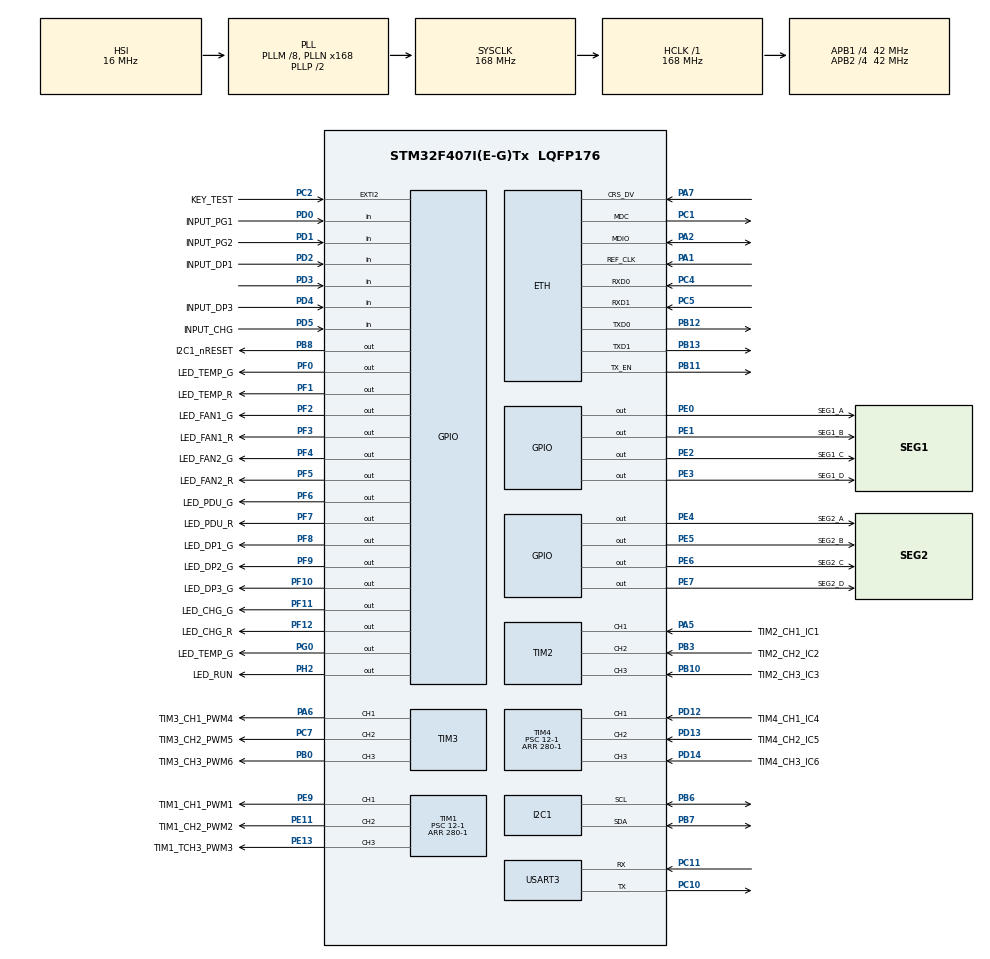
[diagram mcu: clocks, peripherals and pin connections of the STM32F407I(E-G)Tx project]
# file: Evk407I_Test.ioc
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ETH.MediaInterface=HAL_ETH_RMII_MODE
LWIP.BSP.number=1
LWIP.LWIP_DHCP=0
LWIP.Version=v2.1.2_Cube
LWIP0.BSP.STBoard=false
LWIP0.BSP.api=BSP_COMPONENT_DRIVER
LWIP0.BSP.component=LAN8742
LWIP0.BSP.instance=LAN8742
LWIP0.BSP.name=Driver_PHY
LWIP0.BSP.semaphore=S_LAN8742
LWIP0.BSP.solution=LAN8742
Mcu.Family=STM32F4
Mcu.Name=STM32F407I(E-G)Tx
Mcu.Package=LQFP176
NVIC.EXTI2_IRQn=true\:5\:0\:true\:false\:true\:true\:true\:true
NVIC.I2C1_ER_IRQn=true\:0\:0\:false\:false\:true\:true\:true\:true
NVIC.I2C1_EV_IRQn=true\:0\:0\:false\:false\:true\:true\:true\:true
NVIC.PriorityGroup=NVIC_PRIORITYGROUP_4
NVIC.TIM2_IRQn=true\:0\:0\:false\:false\:true\:true\:true\:true
NVIC.TIM4_IRQn=true\:0\:0\:false\:false\:true\:true\:true\:true
NVIC.TIM6_DAC_IRQn=true\:0\:0\:false\:false\:true\:true\:true\:true
NVIC.USART3_IRQn=true\:0\:0\:false\:false\:true\:true\:true\:true
PA1.Mode=RMII
PA1.Signal=ETH_REF_CLK
PA2.Mode=RMII
PA2.Signal=ETH_MDIO
PA5.GPIO_Label=TIM2_CH1_IC1
PA5.Signal=S_TIM2_CH1_ETR
PA6.GPIO_Label=TIM3_CH1_PWM4
PA6.Signal=S_TIM3_CH1
PA7.Mode=RMII
PA7.Signal=ETH_CRS_DV
PB0.GPIO_Label=TIM3_CH3_PWM6
PB0.Signal=S_TIM3_CH3
PB10.GPIO_Label=TIM2_CH3_IC3
PB10.Signal=S_TIM2_CH3
PB11.Mode=RMII
PB11.Signal=ETH_TX_EN
PB12.Mode=RMII
PB12.Signal=ETH_TXD0
PB13.Mode=RMII
PB13.Signal=ETH_TXD1
PB3.GPIO_Label=TIM2_CH2_IC2
PB3.Signal=S_TIM2_CH2
PB6.Mode=I2C
PB6.Signal=I2C1_SCL
PB7.Mode=I2C
PB7.Signal=I2C1_SDA
PB8.GPIO_Label=I2C1_nRESET
PB8.Signal=GPIO_Output
PC1.Mode=RMII
PC1.Signal=ETH_MDC
PC10.Mode=Asynchronous
PC10.Signal=USART3_TX
PC11.Mode=Asynchronous
PC11.Signal=USART3_RX
PC2.GPIO_Label=KEY_TEST
PC2.GPIO_ModeDefaultEXTI=GPIO_MODE_IT_FALLING
PC2.GPIO_PuPd=GPIO_NOPULL
PC2.Signal=GPXTI2
PC4.Mode=RMII
PC4.Signal=ETH_RXD0
PC5.Mode=RMII
PC5.Signal=ETH_RXD1
PC7.GPIO_Label=TIM3_CH2_PWM5
PC7.Signal=S_TIM3_CH2
PD0.GPIO_Label=INPUT_PG1
PD0.Signal=GPIO_Input
PD1.GPIO_Label=INPUT_PG2
PD1.Signal=GPIO_Input
PD12.GPIO_Label=TIM4_CH1_IC4
PD12.Signal=S_TIM4_CH1
PD13.GPIO_Label=TIM4_CH2_IC5
PD13.Signal=S_TIM4_CH2
PD14.GPIO_Label=TIM4_CH3_IC6
PD14.Signal=S_TIM4_CH3
PD2.GPIO_Label=INPUT_DP1
PD2.Signal=GPIO_Input
PD3.Signal=GPIO_Input
PD4.GPIO_Label=INPUT_DP3
PD4.Signal=GPIO_Input
PD5.GPIO_Label=INPUT_CHG
PD5.Signal=GPIO_Input
PE0.GPIO_Label=SEG1_A
PE0.Signal=GPIO_Output
PE1.GPIO_Label=SEG1_B
PE1.Signal=GPIO_Output
PE11.GPIO_Label=TIM1_CH2_PWM2
PE11.Signal=S_TIM1_CH2
PE13.GPIO_Label=TIM1_TCH3_PWM3
PE13.Signal=S_TIM1_CH3
PE2.GPIO_Label=SEG1_C
PE2.Signal=GPIO_Output
PE3.GPIO_Label=SEG1_D
PE3.Signal=GPIO_Output
PE4.GPIO_Label=SEG2_A
PE4.Signal=GPIO_Output
PE5.GPIO_Label=SEG2_B
PE5.Signal=GPIO_Output
PE6.GPIO_Label=SEG2_C
PE6.Signal=GPIO_Output
PE7.GPIO_Label=SEG2_D
PE7.Signal=GPIO_Output
PE9.GPIO_Label=TIM1_CH1_PWM1
PE9.Signal=S_TIM1_CH1
PF0.GPIO_Label=LED_TEMP_G
PF0.Signal=GPIO_Output
PF1.GPIO_Label=LED_TEMP_R
PF1.Signal=GPIO_Output
PF10.GPIO_Label=LED_DP3_G
PF10.Signal=GPIO_Output
PF11.GPIO_Label=LED_CHG_G
PF11.Signal=GPIO_Output
PF12.GPIO_Label=LED_CHG_R
PF12.Signal=GPIO_Output
PF2.GPIO_Label=LED_FAN1_G
PF2.Signal=GPIO_Output
PF3.GPIO_Label=LED_FAN1_R
PF3.Signal=GPIO_Output
PF4.GPIO_Label=LED_FAN2_G
PF4.Signal=GPIO_Output
PF5.GPIO_Label=LED_FAN2_R
PF5.Signal=GPIO_Output
PF6.GPIO_Label=LED_PDU_G
PF6.Signal=GPIO_Output
PF7.GPIO_Label=LED_PDU_R
PF7.Signal=GPIO_Output
PF8.GPIO_Label=LED_DP1_G
PF8.Signal=GPIO_Output
PF9.GPIO_Label=LED_DP2_G
PF9.Signal=GPIO_Output
PG0.GPIO_Label=LED_TEMP_G
PG0.Signal=GPIO_Output
PH0-OSC_IN.Mode=HSE-External-Oscillator
PH0-OSC_IN.Signal=RCC_OSC_IN
PH1-OSC_OUT.Mode=HSE-External-Oscillator
PH1-OSC_OUT.Signal=RCC_OSC_OUT
PH2.GPIO_Label=LED_RUN
PH2.Signal=GPIO_Output
ProjectManager.HeapSize=0x200
ProjectManager.StackSize=0x400
ProjectManager.TargetToolchain=STM32CubeIDE
RCC.48MHZClocksFreq_Value=84000000
RCC.AHBFreq_Value=168000000
RCC.APB1CLKDivider=RCC_HCLK_DIV4
RCC.APB1Freq_Value=42000000
RCC.APB1TimFreq_Value=84000000
RCC.APB2CLKDivider=RCC_HCLK_DIV4
RCC.APB2Freq_Value=42000000
RCC.APB2TimFreq_Value=84000000
RCC.CortexFreq_Value=168000000
RCC.HCLKFreq_Value=168000000
RCC.HSE_VALUE=25000000
RCC.HSI_VALUE=16000000
RCC.LSE_VALUE=32768
RCC.PLLM=8
RCC.PLLN=168
RCC.SYSCLKFreq_VALUE=168000000
RCC.SYSCLKSource=RCC_SYSCLKSOURCE_PLLCLK
RCC.VCOOutputFreq_Value=336000000
SH.S_TIM1_CH1.0=TIM1_CH1,PWM Generation1 CH1
SH.S_TIM1_CH2.0=TIM1_CH2,PWM Generation2 CH2
SH.S_TIM1_CH3.0=TIM1_CH3,PWM Generation3 CH3
SH.S_TIM2_CH1_ETR.0=TIM2_CH1,Input_Capture1_from_TI1
SH.S_TIM2_CH2.0=TIM2_CH2,Input_Capture2_from_TI2
SH.S_TIM2_CH3.0=TIM2_CH3,Input_Capture3_from_TI3
SH.S_TIM3_CH1.0=TIM3_CH1,PWM Generation1 CH1
SH.S_TIM3_CH2.0=TIM3_CH2,PWM Generation2 CH2
SH.S_TIM3_CH3.0=TIM3_CH3,PWM Generation3 CH3
SH.S_TIM4_CH1.0=TIM4_CH1,Input_Capture1_from_TI1
SH.S_TIM4_CH2.0=TIM4_CH2,Input_Capture2_from_TI2
SH.S_TIM4_CH3.0=TIM4_CH3,Input_Capture3_from_TI3
TIM1.Channel-PWM\ Generation1\ CH1=TIM_CHANNEL_1
TIM1.Channel-PWM\ Generation2\ CH2=TIM_CHANNEL_2
TIM1.Channel-PWM\ Generation3\ CH3=TIM_CHANNEL_3
TIM1.Period=280-1
TIM1.Prescaler=12-1
TIM2.Channel-Input_Capture1_from_TI1=TIM_CHANNEL_1
TIM2.Channel-Input_Capture2_from_TI2=TIM_CHANNEL_2
TIM2.Channel-Input_Capture3_from_TI3=TIM_CHANNEL_3
TIM3.Channel-PWM\ Generation1\ CH1=TIM_CHANNEL_1
TIM3.Channel-PWM\ Generation2\ CH2=TIM_CHANNEL_2
TIM3.Channel-PWM\ Generation3\ CH3=TIM_CHANNEL_3
TIM4.Channel-Input_Capture1_from_TI1=TIM_CHANNEL_1
TIM4.Channel-Input_Capture2_from_TI2=TIM_CHANNEL_2
TIM4.Channel-Input_Capture3_from_TI3=TIM_CHANNEL_3
TIM4.Period=280-1
TIM4.Prescaler=12-1
TIM6.Period=10000-1
TIM6.Prescaler=840-1
USART3.VirtualMode=VM_ASYNC
VP_LWIP_VS_Enabled.Mode=Enabled
VP_TIM6_VS_ClockSourceINT.Mode=Enable_Timer
board=custom

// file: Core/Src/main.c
/* USER CODE BEGIN Header */
/**
  ******************************************************************************
  * @file           : main.c
  * @brief          : Main program body
  ******************************************************************************
  * @attention
  *
  * Copyright (c) 2024 STMicroelectronics.
  * All rights reserved.
  *
  * This software is licensed under terms that can be found in the LICENSE file
  * in the root directory of this software component.
  * If no LICENSE file comes with this software, it is provided AS-IS.
  *
  ******************************************************************************
  */
/* USER CODE END Header */
#include "main.h"
#include "i2c.h"
#include "lwip.h"
#include "tim.h"
#include "usart.h"
#include "gpio.h"

/* USER CODE BEGIN Includes */
#include "ring_buffer.h"

/* USER CODE END Includes */

/* USER CODE BEGIN PV */
RingBuf_t ring_buff;

/* USER CODE END PV */

void SystemClock_Config(void);

/* USER CODE BEGIN 0 */
int __io_putchar(int ch) {
	(void) HAL_UART_Transmit(&huart3, (uint8_t*) &ch, 1, 100);
	return ch;
}

uint32_t millis(void)
{
  return HAL_GetTick();
}

/* USER CODE END 0 */

int main(void)
{

  /* MCU Configuration--------------------------------------------------------*/

  /* Reset of all peripherals, Initializes the Flash interface and the Systick. */
  HAL_Init();

  /* Configure the system clock */
  SystemClock_Config();

  /* Initialize all configured peripherals */
  MX_GPIO_Init();
  MX_TIM1_Init();
  MX_TIM3_Init();
  MX_TIM4_Init();
  MX_I2C1_Init();
  MX_TIM2_Init();
  MX_LWIP_Init();
  MX_TIM6_Init();
  MX_USART3_UART_Init();
  /* USER CODE BEGIN 2 */
  __HAL_UART_ENABLE_IT(&huart3, UART_IT_RXNE);
   if (RB_Init(&ring_buff, 16))
   {
   }

  HAL_TIM_PWM_Start(&htim1, TIM_CHANNEL_1);
  HAL_TIM_PWM_Start(&htim1, TIM_CHANNEL_2);

  HAL_TIM_IC_Start_IT(&htim2, TIM_CHANNEL_1);
  HAL_TIM_IC_Start_IT(&htim2, TIM_CHANNEL_2);

  HAL_TIM_Base_Start_IT(&htim6);

  printf("Evk407 Test....\n");
  /* USER CODE END 2 */

  /* Infinite loop */
  while (1)
  {

    /* USER CODE BEGIN 3 */
	HAL_GPIO_TogglePin(LED_RUN_GPIO_Port, LED_RUN_Pin);
	HAL_Delay(500);

  }
  /* USER CODE END 3 */
}

void SystemClock_Config(void)
{
  RCC_OscInitTypeDef RCC_OscInitStruct = {0};
  RCC_ClkInitTypeDef RCC_ClkInitStruct = {0};

  /** Configure the main internal regulator output voltage
  */
  __HAL_RCC_PWR_CLK_ENABLE();
  __HAL_PWR_VOLTAGESCALING_CONFIG(PWR_REGULATOR_VOLTAGE_SCALE1);

  /** Initializes the RCC Oscillators according to the specified parameters
  * in the RCC_OscInitTypeDef structure.
  */
  RCC_OscInitStruct.OscillatorType = RCC_OSCILLATORTYPE_HSI;
  RCC_OscInitStruct.HSIState = RCC_HSI_ON;
  RCC_OscInitStruct.HSICalibrationValue = RCC_HSICALIBRATION_DEFAULT;
  RCC_OscInitStruct.PLL.PLLState = RCC_PLL_ON;
  RCC_OscInitStruct.PLL.PLLSource = RCC_PLLSOURCE_HSI;
  RCC_OscInitStruct.PLL.PLLM = 8;
  RCC_OscInitStruct.PLL.PLLN = 168;
  RCC_OscInitStruct.PLL.PLLP = RCC_PLLP_DIV2;
  RCC_OscInitStruct.PLL.PLLQ = 4;
  if (HAL_RCC_OscConfig(&RCC_OscInitStruct) != HAL_OK)
  {
    Error_Handler();
  }

  /** Initializes the CPU, AHB and APB buses clocks
  */
  RCC_ClkInitStruct.ClockType = RCC_CLOCKTYPE_HCLK|RCC_CLOCKTYPE_SYSCLK
                              |RCC_CLOCKTYPE_PCLK1|RCC_CLOCKTYPE_PCLK2;
  RCC_ClkInitStruct.SYSCLKSource = RCC_SYSCLKSOURCE_PLLCLK;
  RCC_ClkInitStruct.AHBCLKDivider = RCC_SYSCLK_DIV1;
  RCC_ClkInitStruct.APB1CLKDivider = RCC_HCLK_DIV4;
  RCC_ClkInitStruct.APB2CLKDivider = RCC_HCLK_DIV4;

  if (HAL_RCC_ClockConfig(&RCC_ClkInitStruct, FLASH_LATENCY_5) != HAL_OK)
  {
    Error_Handler();
  }
}

/* USER CODE BEGIN 4 */

void HAL_GPIO_EXTI_Callback(uint16_t GPIO_Pin)
{

  HAL_NVIC_DisableIRQ(EXTI2_IRQn);

  if(GPIO_Pin == KEY_TEST_Pin)
  {
    if(HAL_GPIO_ReadPin(KEY_TEST_GPIO_Port, KEY_TEST_Pin) == GPIO_PIN_RESET)
    {
      HAL_GPIO_TogglePin(GPIOH, GPIO_PIN_3);
      printf("Key pressed ! \n");
   }
  }

  HAL_NVIC_EnableIRQ(EXTI2_IRQn);

}

uint16_t timer10ms_count = 0;
void HAL_TIM_PeriodElapsedCallback(TIM_HandleTypeDef *htim)
{

  if(htim->Instance == TIM6)
  {
    timer10ms_count++;

    if(timer10ms_count >= 10)
    {
    	HAL_GPIO_TogglePin(LED_RUN_GPIO_Port, LED_RUN_Pin);

      //-------------------------------------------
      timer10ms_count = 0;
    }
  }
}
/* USER CODE END 4 */

void Error_Handler(void)
{
  __disable_irq();
  while (1)
  {
  }
}
